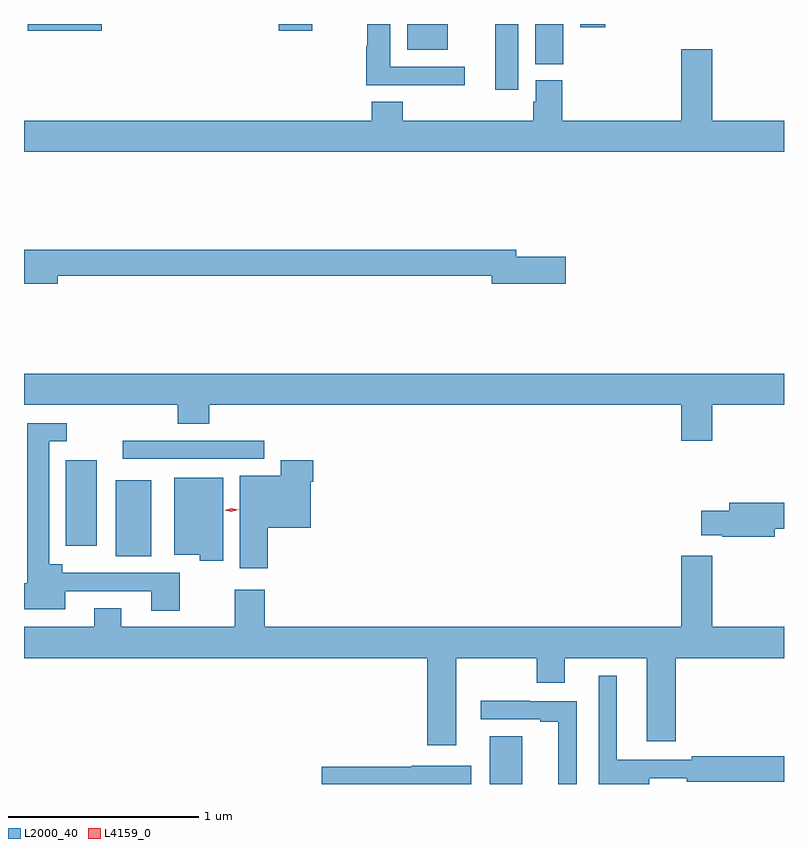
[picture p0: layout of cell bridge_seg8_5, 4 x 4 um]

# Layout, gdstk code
import gdstk
lib = gdstk.Library(unit=1e-6, precision=1e-09)
def R(c, l, rs):  # rectangles x0, y0, x1, y1
    for r in rs: c.add(gdstk.rectangle(r[:2], r[2:], *l))
def P(c, l, *ps):  # polygons
    for p in ps: c.add(gdstk.Polygon(p, *l))
L2000_40 = (2000, 40)
L4159_0 = (4159, 0)

bridge_seg8_5 = lib.new_cell('bridge_seg8_5')
R(bridge_seg8_5, L2000_40, [(955.208,1145.141,955.381,1145.392), (953.24,1146.341,953.428,1146.739), (952.979,1146.396,953.14,1146.844), (953.277,1146.852,954.022,1146.948), (955.238,1148.796,955.36,1149.141), (955.448,1148.929,955.595,1149.141), (954.776,1149.005,954.988,1149.141), (954.098,1149.105,954.276,1149.141), (952.778,1149.106,953.167,1149.141), (955.686,1149.125,955.817,1149.141)])
P(bridge_seg8_5, L2000_40, [(955.078,1148.916),(954.685,1148.916),(954.685,1149.141),(954.565,1149.141),(954.565,1149.023),(954.56,1149.023),(954.56,1148.819),(955.078,1148.819)],
  [(956.758,1148.632),(956.38,1148.632),(956.38,1149.007),(956.216,1149.007),(956.216,1148.632),(955.592,1148.632),(955.592,1148.844),(955.451,1148.844),(955.451,1148.733),(955.439,1148.733),(955.439,1148.632),(954.752,1148.632),(954.752,1148.731),(954.587,1148.731),(954.587,1148.632),(952.758,1148.632),(952.758,1148.468),(956.758,1148.468)],
  [(952.936,1147.816),(955.22,1147.816),(955.22,1147.774),(955.609,1147.774),(955.609,1147.916),(955.348,1147.916),(955.348,1147.952),(952.758,1147.952),(952.758,1147.774),(952.936,1147.774)],
  [(956.38,1147.136),(956.758,1147.136),(956.758,1147.3),(952.758,1147.3),(952.758,1147.136),(953.567,1147.136),(953.567,1147.037),(953.732,1147.037),(953.732,1147.136),(956.216,1147.136),(956.216,1146.948),(956.38,1146.948)],
  [(953.577,1146.252),(952.96,1146.252),(952.96,1146.298),(952.89,1146.298),(952.89,1146.945),(952.984,1146.945),(952.984,1147.041),(952.774,1147.041),(952.774,1146.197),(952.758,1146.197),(952.758,1146.062),(952.975,1146.062),(952.975,1146.156),(953.429,1146.156),(953.429,1146.054),(953.577,1146.054)],
  [(954.041,1146.491),(954.268,1146.491),(954.268,1146.731),(954.281,1146.731),(954.281,1146.844),(954.11,1146.844),(954.11,1146.763),(953.894,1146.763),(953.894,1146.276),(954.041,1146.276)],
  [(953.806,1146.754),(953.549,1146.754),(953.549,1146.347),(953.684,1146.347),(953.684,1146.317),(953.806,1146.317)],
  [(956.71,1146.484),(956.758,1146.484),(956.758,1146.62),(956.471,1146.62),(956.471,1146.579),(956.322,1146.579),(956.322,1146.449),(956.434,1146.449),(956.434,1146.442),(956.71,1146.442)],
  [(955.033,1145.804),(955.456,1145.804),(955.456,1145.673),(955.603,1145.673),(955.603,1145.804),(956.036,1145.804),(956.036,1145.367),(956.189,1145.367),(956.189,1145.804),(956.758,1145.804),(956.758,1145.968),(956.38,1145.968),(956.38,1146.343),(956.216,1146.343),(956.216,1145.968),(954.026,1145.968),(954.026,1146.163),(953.866,1146.163),(953.866,1145.968),(953.269,1145.968),(953.269,1146.067),(953.129,1146.067),(953.129,1145.968),(952.758,1145.968),(952.758,1145.804),(954.881,1145.804),(954.881,1145.346),(955.033,1145.346)],
  [(956.05,1145.17),(956.246,1145.17),(956.246,1145.152),(956.758,1145.152),(956.758,1145.288),(956.272,1145.288),(956.272,1145.268),(955.879,1145.268),(955.879,1145.71),(955.782,1145.71),(955.782,1145.141),(956.05,1145.141)],
  [(955.668,1145.577),(955.419,1145.577),(955.419,1145.58),(955.161,1145.58),(955.161,1145.481),(955.475,1145.481),(955.475,1145.469),(955.571,1145.469),(955.571,1145.141),(955.668,1145.141)],
  [(955.111,1145.236),(954.798,1145.236),(954.798,1145.231),(954.324,1145.231),(954.324,1145.141),(955.111,1145.141)])
P(bridge_seg8_5, L4159_0, [(953.85,1146.573),(953.814,1146.583),(953.814,1146.583),(953.814,1146.583),(953.85,1146.593),(953.886,1146.584),(953.887,1146.584),(953.886,1146.584)])

lib.write_gds('bridge_seg8_5.gds')
